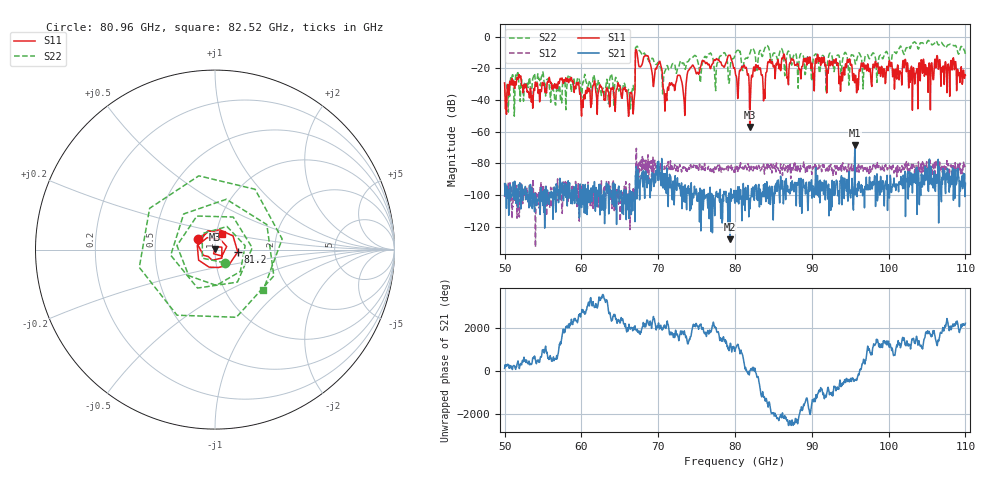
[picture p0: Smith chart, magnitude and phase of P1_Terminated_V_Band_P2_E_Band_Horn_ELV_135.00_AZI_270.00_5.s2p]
! 11/26/2026 10:35:16 AM
! C:\ANRITSUVNA\TEMP\TEMP.S2P
! CHANNEL.1
! TR.MEASUREMENT
! RAW.DATA
# HZ S RI R 50.0
! FREQ.HZ  S11RE  S11IM  S21RE  S21IM  S12RE  S12IM  S22RE  S22IM
!; PortSelection: Port_12
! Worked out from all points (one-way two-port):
!   1001 points, 50 GHz to 110 GHz, reference 50 ohm
!   highest |S21| = -68.72 dB at 95.6 GHz (marker M1); lowest = -128.0 dB at 79.34 GHz (marker M2)
!   lowest |S11| = -57.0 dB at 81.92 GHz (marker M3), VSWR 1.00, Z = 49.9 + j0.117 ohm
!   |S11| at or under -10 dB: start of sweep to 67.04 GHz; 67.24 GHz to end of sweep
!   |S22| runs from -50.2 to -2.4 dB; largest |S21 - S12| = 0.00042
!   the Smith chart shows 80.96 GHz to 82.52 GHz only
!   S11 on the Smith chart (normalised r, x): 80.96 GHz: 0.82, +0.10; 81.2 GHz: 1.29, -0.03; 82.52 GHz: 1.06, +0.19
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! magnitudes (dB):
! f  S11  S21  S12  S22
! 50 GHz  -29.2  -92.8  -101.3  -34.0
! 58.46 GHz  -26.7  -92.2  -102.8  -24.6
! 60.02 GHz  -50.2  -108.0  -96.8  -38.8
! 66.44 GHz  -35.4  -98.0  -99.4  -40.5
! 67.34 GHz  -13.7  -95.7  -80.1  -6.6
! 70.04 GHz  -17.4  -78.6  -81.7  -16.2
! 71.06 GHz  -39.0  -99.1  -83.8  -19.2
! 72.68 GHz  -24.4  -94.3  -82.9  -19.2
! 73.4 GHz  -41.7  -104.5  -81.9  -17.8
! 74.36 GHz  -18.9  -100.8  -83.5  -13.6
! 78.5 GHz  -18.9  -104.0  -84.0  -10.3
! 79.34 GHz  -11.7  -128.0  -82.5  -22.6
! 80 GHz  -21.0  -105.3  -82.1  -11.4
! 80.96 GHz  -19.0  -100.8  -82.6  -20.8
! 81.2 GHz  -17.9  -106.6  -84.0  -15.4
! 81.92 GHz  -57.0  -108.9  -83.6  -10.8
! 82.52 GHz  -20.5  -103.4  -81.7  -9.1
! 90.02 GHz  -16.7  -102.0  -87.0  -27.2
! 94.88 GHz  -14.2  -93.9  -86.9  -28.0
! 95.6 GHz  -29.1  -68.7  -71.7  -15.1
! 100 GHz  -16.3  -99.3  -82.8  -13.4
! 110 GHz  -24.3  -92.7  -82.3  -11.0
